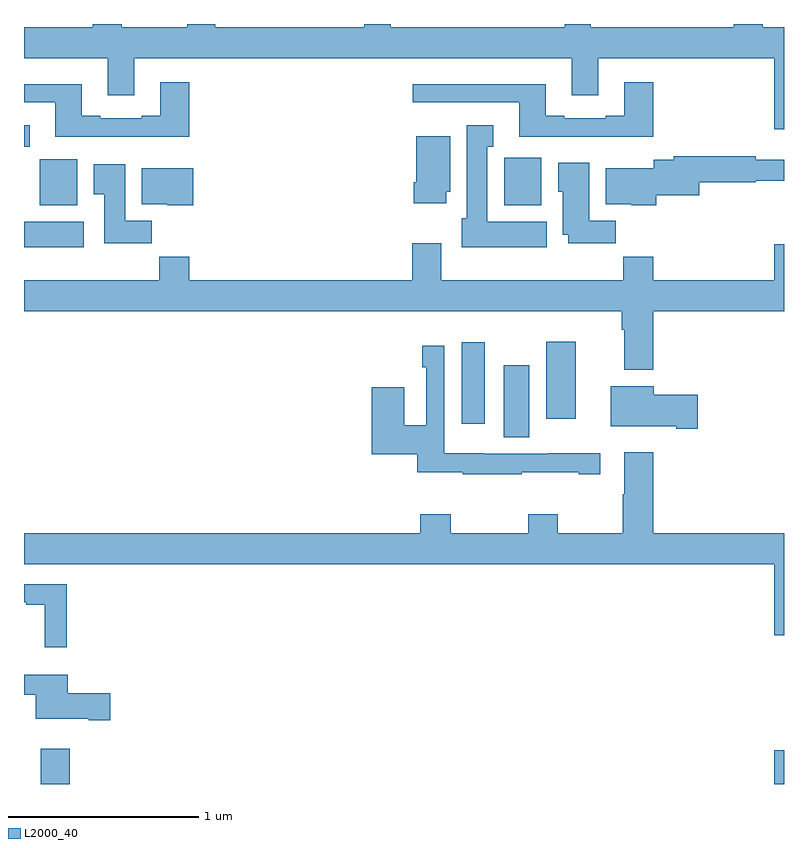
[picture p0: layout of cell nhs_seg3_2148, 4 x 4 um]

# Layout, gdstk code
import gdstk
lib = gdstk.Library(unit=1e-6, precision=1e-09)
def R(c, l, rs):  # rectangles x0, y0, x1, y1
    for r in rs: c.add(gdstk.rectangle(r[:2], r[2:], *l))
def P(c, l, *ps):  # polygons
    for p in ps: c.add(gdstk.Polygon(p, *l))
L2000_40 = (2000, 40)

nhs_seg3_2148 = lib.new_cell('nhs_seg3_2148')
R(nhs_seg3_2148, L2000_40, [(221.087,726.4,221.24,726.586), (224.948,726.4,225,726.577), (223.526,728.224,223.66,728.605), (223.304,728.295,223.426,728.725), (223.748,728.322,223.903,728.728), (221,729.224,221.314,729.358), (221.084,729.446,221.281,729.688), (223.527,729.446,223.723,729.696), (221,729.755,221.029,729.868)])
P(nhs_seg3_2148, L2000_40, [(225,730.384),(224.888,730.384),(224.888,730.4),(224.735,730.4),(224.735,730.384),(223.983,730.384),(223.983,730.4),(223.845,730.4),(223.845,730.384),(222.931,730.384),(222.931,730.4),(222.791,730.4),(222.791,730.384),(222.007,730.384),(222.007,730.4),(221.86,730.4),(221.86,730.384),(221.515,730.384),(221.515,730.4),(221.363,730.4),(221.363,730.384),(221,730.384),(221,730.22),(221.441,730.22),(221.441,730.026),(221.581,730.026),(221.581,730.22),(223.883,730.22),(223.883,730.026),(224.023,730.026),(224.023,730.22),(224.948,730.22),(224.948,729.846),(225,729.846)],
  [(224.312,730.093),(224.159,730.093),(224.159,729.916),(224.063,729.916),(224.063,729.903),(223.843,729.903),(223.843,729.916),(223.747,729.916),(223.747,730.084),(223.047,730.084),(223.047,729.987),(223.607,729.987),(223.607,729.806),(224.312,729.806)],
  [(221.87,730.093),(221.717,730.093),(221.717,729.916),(221.621,729.916),(221.621,729.903),(221.401,729.903),(221.401,729.916),(221.305,729.916),(221.305,730.084),(221,730.084),(221,729.987),(221.165,729.987),(221.165,729.806),(221.87,729.806)],
  [(223.75,729.358),(223.438,729.358),(223.438,729.755),(223.471,729.755),(223.471,729.868),(223.331,729.868),(223.331,729.378),(223.304,729.378),(223.304,729.224),(223.75,729.224)],
  [(223.222,729.516),(223.243,729.516),(223.243,729.808),(223.064,729.808),(223.064,729.568),(223.052,729.568),(223.052,729.456),(223.222,729.456)],
  [(224.327,729.5),(224.554,729.5),(224.554,729.568),(224.85,729.568),(224.85,729.576),(225,729.576),(225,729.685),(224.852,729.685),(224.852,729.704),(224.419,729.704),(224.419,729.685),(224.315,729.685),(224.315,729.64),(224.063,729.64),(224.063,729.452),(224.196,729.452),(224.196,729.446),(224.327,729.446)],
  [(224.114,729.364),(223.975,729.364),(223.975,729.67),(223.811,729.67),(223.811,729.516),(223.835,729.516),(223.835,729.29),(223.865,729.29),(223.865,729.246),(224.114,729.246)],
  [(221.672,729.364),(221.533,729.364),(221.533,729.661),(221.366,729.661),(221.366,729.505),(221.423,729.505),(221.423,729.246),(221.672,729.246)],
  [(221.89,729.64),(221.621,729.64),(221.621,729.452),(221.754,729.452),(221.754,729.446),(221.89,729.446)],
  [(224.312,728.888),(225,728.888),(225,729.241),(224.948,729.241),(224.948,729.052),(224.312,729.052),(224.312,729.176),(224.155,729.176),(224.155,729.052),(223.195,729.052),(223.195,729.247),(223.043,729.247),(223.043,729.052),(221.87,729.052),(221.87,729.176),(221.713,729.176),(221.713,729.052),(221,729.052),(221,728.888),(224.147,728.888),(224.147,728.792),(224.159,728.792),(224.159,728.579),(224.312,728.579)],
  [(223.619,728.041),(223.919,728.041),(223.919,728.031),(224.032,728.031),(224.032,728.141),(223.756,728.141),(223.756,728.139),(223.422,728.139),(223.422,728.14),(223.212,728.14),(223.212,728.707),(223.096,728.707),(223.096,728.594),(223.116,728.594),(223.116,728.288),(223,728.288),(223,728.488),(222.83,728.488),(222.83,728.135),(223.07,728.135),(223.07,728.041),(223.309,728.041),(223.309,728.031),(223.619,728.031)],
  [(224.545,728.448),(224.314,728.448),(224.314,728.494),(224.087,728.494),(224.087,728.282),(224.432,728.282),(224.432,728.27),(224.545,728.27)],
  [(225,727.72),(224.312,727.72),(224.312,728.146),(224.159,728.146),(224.159,727.925),(224.152,727.925),(224.152,727.72),(223.809,727.72),(223.809,727.819),(223.654,727.819),(223.654,727.72),(223.245,727.72),(223.245,727.819),(223.085,727.819),(223.085,727.72),(221,727.72),(221,727.556),(224.948,727.556),(224.948,727.182),(225,727.182)],
  [(221.225,727.452),(221,727.452),(221,727.356),(221.012,727.356),(221.012,727.344),(221.108,727.344),(221.108,727.119),(221.225,727.119)],
  [(221.455,726.878),(221.23,726.878),(221.23,726.976),(221,726.976),(221,726.869),(221.063,726.869),(221.063,726.743),(221.342,726.743),(221.342,726.736),(221.455,726.736)])

lib.write_gds('nhs_seg3_2148.gds')
